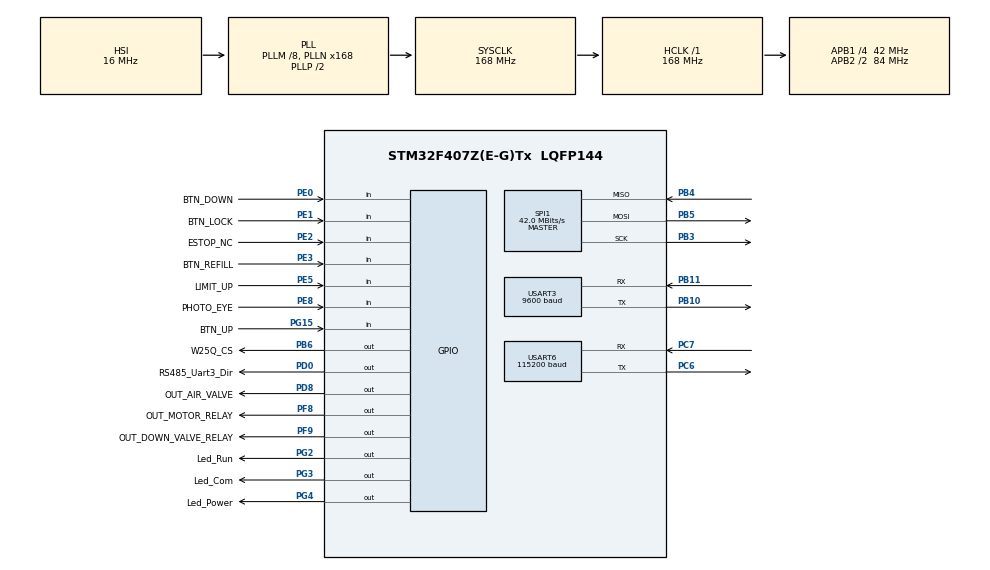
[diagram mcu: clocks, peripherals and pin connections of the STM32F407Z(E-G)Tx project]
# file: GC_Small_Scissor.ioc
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Dma.Request0=USART3_RX
Dma.Request1=USART3_TX
Dma.Request2=USART6_RX
Dma.Request3=USART6_TX
Dma.USART3_RX.0.Direction=DMA_PERIPH_TO_MEMORY
Dma.USART3_RX.0.FIFOMode=DMA_FIFOMODE_DISABLE
Dma.USART3_RX.0.Instance=DMA1_Stream1
Dma.USART3_RX.0.MemDataAlignment=DMA_MDATAALIGN_BYTE
Dma.USART3_RX.0.MemInc=DMA_MINC_ENABLE
Dma.USART3_RX.0.Mode=DMA_CIRCULAR
Dma.USART3_RX.0.PeriphDataAlignment=DMA_PDATAALIGN_BYTE
Dma.USART3_RX.0.PeriphInc=DMA_PINC_DISABLE
Dma.USART3_RX.0.Priority=DMA_PRIORITY_LOW
Dma.USART3_TX.1.Direction=DMA_MEMORY_TO_PERIPH
Dma.USART3_TX.1.FIFOMode=DMA_FIFOMODE_DISABLE
Dma.USART3_TX.1.Instance=DMA1_Stream3
Dma.USART3_TX.1.MemDataAlignment=DMA_MDATAALIGN_BYTE
Dma.USART3_TX.1.MemInc=DMA_MINC_ENABLE
Dma.USART3_TX.1.Mode=DMA_NORMAL
Dma.USART3_TX.1.PeriphDataAlignment=DMA_PDATAALIGN_BYTE
Dma.USART3_TX.1.PeriphInc=DMA_PINC_DISABLE
Dma.USART3_TX.1.Priority=DMA_PRIORITY_LOW
Dma.USART6_RX.2.Direction=DMA_PERIPH_TO_MEMORY
Dma.USART6_RX.2.FIFOMode=DMA_FIFOMODE_DISABLE
Dma.USART6_RX.2.Instance=DMA2_Stream1
Dma.USART6_RX.2.MemDataAlignment=DMA_MDATAALIGN_BYTE
Dma.USART6_RX.2.MemInc=DMA_MINC_ENABLE
Dma.USART6_RX.2.Mode=DMA_CIRCULAR
Dma.USART6_RX.2.PeriphDataAlignment=DMA_PDATAALIGN_BYTE
Dma.USART6_RX.2.PeriphInc=DMA_PINC_DISABLE
Dma.USART6_RX.2.Priority=DMA_PRIORITY_LOW
Dma.USART6_TX.3.Direction=DMA_MEMORY_TO_PERIPH
Dma.USART6_TX.3.FIFOMode=DMA_FIFOMODE_DISABLE
Dma.USART6_TX.3.Instance=DMA2_Stream6
Dma.USART6_TX.3.MemDataAlignment=DMA_MDATAALIGN_BYTE
Dma.USART6_TX.3.MemInc=DMA_MINC_ENABLE
Dma.USART6_TX.3.Mode=DMA_NORMAL
Dma.USART6_TX.3.PeriphDataAlignment=DMA_PDATAALIGN_BYTE
Dma.USART6_TX.3.PeriphInc=DMA_PINC_DISABLE
Dma.USART6_TX.3.Priority=DMA_PRIORITY_LOW
FREERTOS.Tasks01=defaultTask,24,512,StartDefaultTask,Default,NULL,Dynamic,NULL,NULL
Mcu.Family=STM32F4
Mcu.Name=STM32F407Z(E-G)Tx
Mcu.Package=LQFP144
NVIC.DMA1_Stream1_IRQn=true\:5\:0\:false\:false\:true\:true\:false\:true\:true
NVIC.DMA1_Stream3_IRQn=true\:5\:0\:false\:false\:true\:true\:false\:true\:true
NVIC.DMA2_Stream1_IRQn=true\:5\:0\:false\:false\:true\:true\:false\:true\:true
NVIC.DMA2_Stream6_IRQn=true\:5\:0\:false\:false\:true\:true\:false\:true\:true
NVIC.PriorityGroup=NVIC_PRIORITYGROUP_4
NVIC.TIM6_DAC_IRQn=true\:15\:0\:false\:false\:true\:false\:false\:true\:true
NVIC.TimeBase=TIM6_DAC_IRQn
NVIC.TimeBaseIP=TIM6
NVIC.USART3_IRQn=true\:5\:0\:false\:false\:true\:true\:true\:true\:true
NVIC.USART6_IRQn=true\:5\:0\:false\:false\:true\:true\:true\:true\:true
PA0-WKUP.Mode=SYS_WakeUp0
PA0-WKUP.Signal=SYS_WKUP
PA13.Mode=Serial_Wire
PA13.Signal=SYS_JTMS-SWDIO
PA14.Mode=Serial_Wire
PA14.Signal=SYS_JTCK-SWCLK
PB10.Mode=Asynchronous
PB10.Signal=USART3_TX
PB11.GPIO_PuPd=GPIO_PULLUP
PB11.Mode=Asynchronous
PB11.Signal=USART3_RX
PB3.Mode=Full_Duplex_Master
PB3.Signal=SPI1_SCK
PB4.Mode=Full_Duplex_Master
PB4.Signal=SPI1_MISO
PB5.Mode=Full_Duplex_Master
PB5.Signal=SPI1_MOSI
PB6.GPIO_Label=W25Q_CS
PB6.GPIO_PuPd=GPIO_PULLUP
PB6.PinState=GPIO_PIN_SET
PB6.Signal=GPIO_Output
PC14-OSC32_IN.Mode=LSE-External-Oscillator
PC14-OSC32_IN.Signal=RCC_OSC32_IN
PC15-OSC32_OUT.Mode=LSE-External-Oscillator
PC15-OSC32_OUT.Signal=RCC_OSC32_OUT
PC6.Mode=Asynchronous
PC6.Signal=USART6_TX
PC7.Mode=Asynchronous
PC7.Signal=USART6_RX
PD0.GPIO_Label=RS485_Uart3_Dir
PD0.GPIO_PuPd=GPIO_PULLDOWN
PD0.PinState=GPIO_PIN_RESET
PD0.Signal=GPIO_Output
PD8.GPIO_Label=OUT_AIR_VALVE
PD8.GPIO_ModeDefaultOutputPP=GPIO_MODE_OUTPUT_PP
PD8.GPIO_PuPd=GPIO_PULLDOWN
PD8.GPIO_Speed=GPIO_SPEED_FREQ_LOW
PD8.PinState=GPIO_PIN_RESET
PD8.Signal=GPIO_Output
PE0.GPIO_Label=BTN_DOWN
PE0.GPIO_PuPd=GPIO_PULLUP
PE0.Signal=GPIO_Input
PE1.GPIO_Label=BTN_LOCK
PE1.GPIO_PuPd=GPIO_PULLUP
PE1.Signal=GPIO_Input
PE2.GPIO_Label=ESTOP_NC
PE2.GPIO_PuPd=GPIO_PULLUP
PE2.Signal=GPIO_Input
PE3.GPIO_Label=BTN_REFILL
PE3.GPIO_PuPd=GPIO_PULLUP
PE3.Signal=GPIO_Input
PE5.GPIO_Label=LIMIT_UP
PE5.GPIO_PuPd=GPIO_PULLUP
PE5.Signal=GPIO_Input
PE8.GPIO_Label=PHOTO_EYE
PE8.GPIO_PuPd=GPIO_PULLUP
PE8.Signal=GPIO_Input
PF8.GPIO_Label=OUT_MOTOR_RELAY
PF8.GPIO_ModeDefaultOutputPP=GPIO_MODE_OUTPUT_PP
PF8.GPIO_PuPd=GPIO_PULLDOWN
PF8.GPIO_Speed=GPIO_SPEED_FREQ_LOW
PF8.PinState=GPIO_PIN_RESET
PF8.Signal=GPIO_Output
PF9.GPIO_Label=OUT_DOWN_VALVE_RELAY
PF9.GPIO_ModeDefaultOutputPP=GPIO_MODE_OUTPUT_PP
PF9.GPIO_PuPd=GPIO_PULLDOWN
PF9.GPIO_Speed=GPIO_SPEED_FREQ_LOW
PF9.PinState=GPIO_PIN_RESET
PF9.Signal=GPIO_Output
PG15.GPIO_Label=BTN_UP
PG15.GPIO_PuPd=GPIO_PULLUP
PG15.Signal=GPIO_Input
PG2.GPIO_Label=Led_Run
PG2.GPIO_PuPd=GPIO_PULLUP
PG2.PinState=GPIO_PIN_SET
PG2.Signal=GPIO_Output
PG3.GPIO_Label=Led_Com
PG3.GPIO_PuPd=GPIO_PULLUP
PG3.PinState=GPIO_PIN_SET
PG3.Signal=GPIO_Output
PG4.GPIO_Label=Led_Power
PG4.GPIO_PuPd=GPIO_PULLUP
PG4.PinState=GPIO_PIN_SET
PG4.Signal=GPIO_Output
PH0-OSC_IN.Mode=HSE-External-Oscillator
PH0-OSC_IN.Signal=RCC_OSC_IN
PH1-OSC_OUT.Mode=HSE-External-Oscillator
PH1-OSC_OUT.Signal=RCC_OSC_OUT
ProjectManager.HeapSize=0x200
ProjectManager.StackSize=0x400
ProjectManager.TargetToolchain=MDK-ARM V5.32
RCC.48MHZClocksFreq_Value=84000000
RCC.AHBFreq_Value=168000000
RCC.APB1CLKDivider=RCC_HCLK_DIV4
RCC.APB1Freq_Value=42000000
RCC.APB1TimFreq_Value=84000000
RCC.APB2CLKDivider=RCC_HCLK_DIV2
RCC.APB2Freq_Value=84000000
RCC.APB2TimFreq_Value=168000000
RCC.CortexFreq_Value=168000000
RCC.HCLKFreq_Value=168000000
RCC.HSE_VALUE=25000000
RCC.HSI_VALUE=16000000
RCC.PLLM=8
RCC.PLLN=168
RCC.SYSCLKFreq_VALUE=168000000
RCC.SYSCLKSource=RCC_SYSCLKSOURCE_PLLCLK
RCC.VCOOutputFreq_Value=336000000
SPI1.CalculateBaudRate=42.0 MBits/s
SPI1.Direction=SPI_DIRECTION_2LINES
SPI1.Mode=SPI_MODE_MASTER
SPI1.VirtualType=VM_MASTER
USART3.BaudRate=9600
USART3.VirtualMode=VM_ASYNC
USART6.BaudRate=115200
USART6.VirtualMode=VM_ASYNC
VP_FREERTOS_VS_CMSIS_V2.Mode=CMSIS_V2
VP_SYS_VS_tim6.Mode=TIM6
board=custom

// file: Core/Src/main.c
/* USER CODE BEGIN Header */
/**
  ******************************************************************************
  * @file           : main.c
  * @brief          : Main program body
  ******************************************************************************
  * @attention
  *
  * Copyright (c) 2026 STMicroelectronics.
  * All rights reserved.
  *
  * This software is licensed under terms that can be found in the LICENSE file
  * in the root directory of this software component.
  * If no LICENSE file comes with this software, it is provided AS-IS.
  *
  ******************************************************************************
  */
/* USER CODE END Header */
#include "main.h"
#include "cmsis_os.h"
#include "dma.h"
#include "spi.h"
#include "usart.h"
#include "gpio.h"

/* USER CODE BEGIN Includes */
#include "SEGGER_RTT.h"
#include "elog.h"
#include "app_product.h"
#include "app_io_map.h"
#include "app_w25qxx.h"
#include "lift_iot.h"
#include "dri_lift.h"
#include "dri_tas_dtu.h"

/* USER CODE END Includes */

void SystemClock_Config(void);
void MX_FREERTOS_Init(void);

int main(void)
{

  /* MCU Configuration--------------------------------------------------------*/

  /* Reset of all peripherals, Initializes the Flash interface and the Systick. */
  HAL_Init();

  /* Configure the system clock */
  SystemClock_Config();

  /* Initialize all configured peripherals */
  MX_GPIO_Init();
  MX_DMA_Init();
  MX_USART3_UART_Init();
  MX_SPI1_Init();
  MX_USART6_UART_Init();
  /* USER CODE BEGIN 2 */

  SEGGER_RTT_Init();
  elog_init();
  elog_set_fmt(ELOG_LVL_ASSERT, ELOG_FMT_LVL | ELOG_FMT_TAG | ELOG_FMT_TIME);
  elog_set_fmt(ELOG_LVL_ERROR,  ELOG_FMT_LVL | ELOG_FMT_TAG | ELOG_FMT_TIME);
  elog_set_fmt(ELOG_LVL_WARN,   ELOG_FMT_LVL | ELOG_FMT_TAG | ELOG_FMT_TIME);
  elog_set_fmt(ELOG_LVL_INFO,   ELOG_FMT_LVL | ELOG_FMT_TAG | ELOG_FMT_TIME);
  elog_set_fmt(ELOG_LVL_DEBUG,  ELOG_FMT_ALL & ~ELOG_FMT_FUNC);
  elog_start();

  App_Product_PrintUID();
  App_IO_Map_Init(g_product_type);
  App_W25Qxx_System_Init();
  LiftIot_Init();
  elog_i("SYS", "[BOOT] 1 app init done");
  Dri_Lift_Init(g_product_type);
  elog_i("SYS", "[BOOT] 2 lift init returned");
  LED_POWER_ON();
  elog_i("SYS", "[BOOT] 3 power led on");
  elog_i("SYS", "[SYS] small scissor safety state machine ready product=%s",
         App_Product_TypeName(g_product_type));

  /* USER CODE END 2 */

  /* Init scheduler */
  osKernelInitialize();  /* Call init function for freertos objects (in cmsis_os2.c) */
  MX_FREERTOS_Init();

  /* Start scheduler */
  osKernelStart();

  /* We should never get here as control is now taken by the scheduler */

  /* Infinite loop */
  while (1)
  {

  }
}

void SystemClock_Config(void)
{
  RCC_OscInitTypeDef RCC_OscInitStruct = {0};
  RCC_ClkInitTypeDef RCC_ClkInitStruct = {0};

  /** Configure the main internal regulator output voltage
  */
  __HAL_RCC_PWR_CLK_ENABLE();
  __HAL_PWR_VOLTAGESCALING_CONFIG(PWR_REGULATOR_VOLTAGE_SCALE1);

  /** Initializes the RCC Oscillators according to the specified parameters
  * in the RCC_OscInitTypeDef structure.
  */
  RCC_OscInitStruct.OscillatorType = RCC_OSCILLATORTYPE_HSI;
  RCC_OscInitStruct.HSIState = RCC_HSI_ON;
  RCC_OscInitStruct.HSICalibrationValue = RCC_HSICALIBRATION_DEFAULT;
  RCC_OscInitStruct.PLL.PLLState = RCC_PLL_ON;
  RCC_OscInitStruct.PLL.PLLSource = RCC_PLLSOURCE_HSI;
  RCC_OscInitStruct.PLL.PLLM = 8;
  RCC_OscInitStruct.PLL.PLLN = 168;
  RCC_OscInitStruct.PLL.PLLP = RCC_PLLP_DIV2;
  RCC_OscInitStruct.PLL.PLLQ = 4;
  if (HAL_RCC_OscConfig(&RCC_OscInitStruct) != HAL_OK)
  {
    Error_Handler();
  }

  /** Initializes the CPU, AHB and APB buses clocks
  */
  RCC_ClkInitStruct.ClockType = RCC_CLOCKTYPE_HCLK|RCC_CLOCKTYPE_SYSCLK
                              |RCC_CLOCKTYPE_PCLK1|RCC_CLOCKTYPE_PCLK2;
  RCC_ClkInitStruct.SYSCLKSource = RCC_SYSCLKSOURCE_PLLCLK;
  RCC_ClkInitStruct.AHBCLKDivider = RCC_SYSCLK_DIV1;
  RCC_ClkInitStruct.APB1CLKDivider = RCC_HCLK_DIV4;
  RCC_ClkInitStruct.APB2CLKDivider = RCC_HCLK_DIV2;

  if (HAL_RCC_ClockConfig(&RCC_ClkInitStruct, FLASH_LATENCY_5) != HAL_OK)
  {
    Error_Handler();
  }
}

void HAL_TIM_PeriodElapsedCallback(TIM_HandleTypeDef *htim)
{
  if (htim->Instance == TIM6)
  {
    HAL_IncTick();
  }
}

void Error_Handler(void)
{
  __disable_irq();
  while (1)
  {
  }
}

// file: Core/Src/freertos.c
/* USER CODE BEGIN Header */
/**
  ******************************************************************************
  * File Name          : freertos.c
  * Description        : Code for freertos applications
  ******************************************************************************
  * @attention
  *
  * Copyright (c) 2026 STMicroelectronics.
  * All rights reserved.
  *
  * This software is licensed under terms that can be found in the LICENSE file
  * in the root directory of this software component.
  * If no LICENSE file comes with this software, it is provided AS-IS.
  *
  ******************************************************************************
  */
/* USER CODE END Header */

#include "FreeRTOS.h"
#include "task.h"
#include "main.h"
#include "cmsis_os.h"

/* USER CODE BEGIN Includes */
#include "dri_lift.h"
#include "dri_tas_dtu.h"
#include "elog.h"
#include "app_io_map.h"

/* USER CODE END Includes */

/* USER CODE BEGIN PD */
#define DEFAULT_TASK_STACK_SIZE_BYTES   (2048U)
#define LIFT_TASK_PERIOD_MS             (10U)
#define LIFT_RUN_LED_TOGGLE_LOOPS       (500U / LIFT_TASK_PERIOD_MS)
#define LIFT_RTT_HEARTBEAT_LOOPS        (1000U / LIFT_TASK_PERIOD_MS)

/* USER CODE END PD */

/* Definitions for defaultTask */
osThreadId_t defaultTaskHandle;
const osThreadAttr_t defaultTask_attributes = {
  .name = "defaultTask",
  .stack_size = 512 * 4,
  .priority = (osPriority_t) osPriorityNormal,
};

void StartDefaultTask(void *argument);

void MX_FREERTOS_Init(void); /* (MISRA C 2004 rule 8.1) */

void MX_FREERTOS_Init(void) {

  /* Create the thread(s) */
  /* creation of defaultTask */
  defaultTaskHandle = osThreadNew(StartDefaultTask, NULL, &defaultTask_attributes);

  /* USER CODE BEGIN RTOS_THREADS */
  TasDtu_Task_Create();
  if (g_tas_dtu_task_created != 0U) {
    elog_i("SYS", "[SYS] TAS DTU task created");
  } else {
    elog_e("SYS", "[SYS] TAS DTU task create failed");
  }
  /* USER CODE END RTOS_THREADS */

}

void StartDefaultTask(void *argument)
{
  /* USER CODE BEGIN StartDefaultTask */
  uint32_t loop_count = 0U;
  uint32_t led_count = 0U;
  uint32_t heartbeat_count = 0U;

  (void)argument;
  elog_i("SYS", "[SYS] defaultTask lift 10ms loop started");
  LED_RUN_OFF();
  /* Infinite loop */
  for(;;)
  {
    const lift_ctx_t *ctx;

    Dri_Lift_Task10ms();
    loop_count++;

    if (++led_count >= LIFT_RUN_LED_TOGGLE_LOOPS) {
      led_count = 0U;
      LED_RUN_TOGGLE();
    }

    if (++heartbeat_count >= LIFT_RTT_HEARTBEAT_LOOPS) {
      heartbeat_count = 0U;
      ctx = Dri_Lift_GetContext();
      if (ctx != NULL) {
        elog_i("LIFT",
               "[LIFT] hb loop=%lu state=%s stack_free=%lu heap=%lu min_heap=%lu led=%u in=%u/%u/%u/%u/%u/%u/%u/%u out=%u/%u/%u",
               (unsigned long)loop_count,
               App_LiftCore_StateName(ctx->current_state),
               (unsigned long)(uxTaskGetStackHighWaterMark(NULL) * sizeof(StackType_t)),
               (unsigned long)xPortGetFreeHeapSize(),
               (unsigned long)xPortGetMinimumEverFreeHeapSize(),
               (unsigned int)HAL_GPIO_ReadPin(Led_Run_GPIO_Port, Led_Run_Pin),
               ctx->input.pressed[LIFT_IN_UP],
               ctx->input.pressed[LIFT_IN_DOWN],
               ctx->input.pressed[LIFT_IN_LOCK],
               ctx->input.pressed[LIFT_IN_REFILL],
               ctx->input.pressed[LIFT_IN_ESTOP],
               ctx->input.pressed[LIFT_IN_PHOTO],
               ctx->input.pressed[LIFT_IN_LOWER_LIMIT],
               ctx->input.pressed[LIFT_IN_UPPER_LIMIT],
               ctx->output_actual.motor_on,
               ctx->output_actual.down_valve_on,
               ctx->output_actual.air_valve_on);
      }
    }

    osDelay(LIFT_TASK_PERIOD_MS);
  }
  /* USER CODE END StartDefaultTask */
}

/* USER CODE BEGIN Application */

void vApplicationMallocFailedHook(void)
{
  App_IO_All_Off();
  elog_e("RTOS", "[RTOS] malloc failed free=%lu min_free=%lu",
         (unsigned long)xPortGetFreeHeapSize(),
         (unsigned long)xPortGetMinimumEverFreeHeapSize());
  taskDISABLE_INTERRUPTS();
  for (;;) {
  }
}

void vApplicationStackOverflowHook(TaskHandle_t xTask, char *pcTaskName)
{
  App_IO_All_Off();
  elog_e("RTOS", "[RTOS] stack overflow task=%s handle=%p free=%lu min_free=%lu",
         (pcTaskName != NULL) ? pcTaskName : "?",
         (void *)xTask,
         (unsigned long)xPortGetFreeHeapSize(),
         (unsigned long)xPortGetMinimumEverFreeHeapSize());
  taskDISABLE_INTERRUPTS();
  for (;;) {
  }
}

/* USER CODE END Application */
